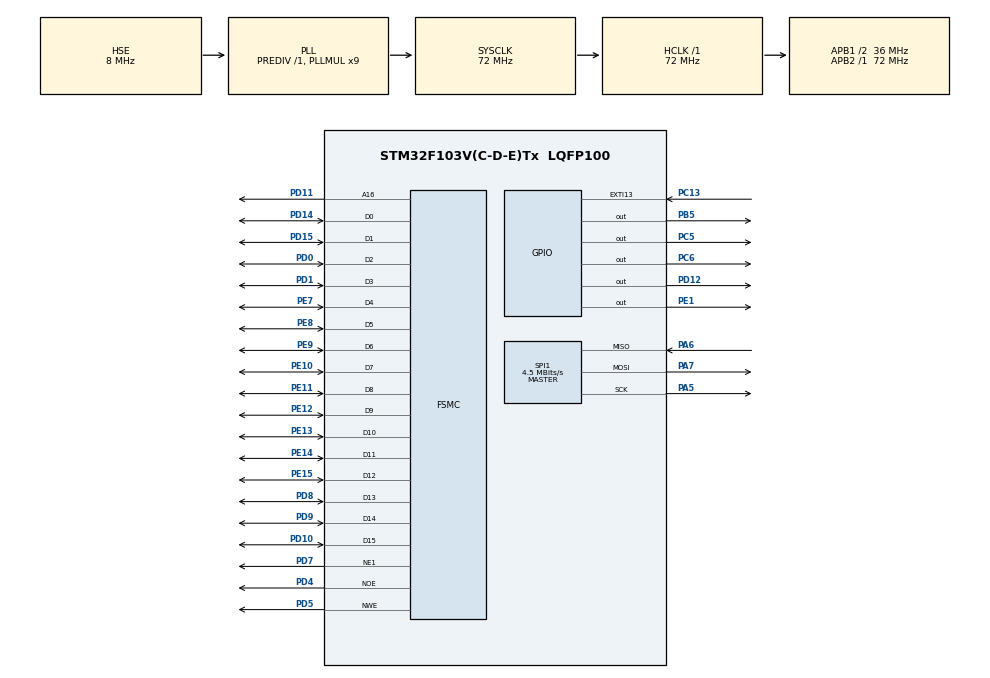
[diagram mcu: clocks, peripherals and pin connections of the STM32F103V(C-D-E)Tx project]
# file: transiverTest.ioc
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Mcu.Family=STM32F1
Mcu.Name=STM32F103V(C-D-E)Tx
Mcu.Package=LQFP100
NVIC.EXTI15_10_IRQn=true\:0\:0\:false\:true\:true\:1\:true\:true\:true
NVIC.PriorityGroup=NVIC_PRIORITYGROUP_4
OSC_IN.Mode=HSE-External-Oscillator
OSC_IN.Signal=RCC_OSC_IN
OSC_OUT.Mode=HSE-External-Oscillator
OSC_OUT.Signal=RCC_OSC_OUT
PA13.Mode=Serial_Wire
PA13.Signal=SYS_JTMS-SWDIO
PA14.Mode=Serial_Wire
PA14.Signal=SYS_JTCK-SWCLK
PA5.Mode=Full_Duplex_Master
PA5.Signal=SPI1_SCK
PA6.Mode=Full_Duplex_Master
PA6.Signal=SPI1_MISO
PA7.Mode=Full_Duplex_Master
PA7.Signal=SPI1_MOSI
PB5.Signal=GPIO_Output
PC13-TAMPER-RTC.Signal=GPXTI13
PC14-OSC32_IN.Mode=LSE-External-Oscillator
PC14-OSC32_IN.Signal=RCC_OSC32_IN
PC15-OSC32_OUT.Mode=LSE-External-Oscillator
PC15-OSC32_OUT.Signal=RCC_OSC32_OUT
PC5.Signal=GPIO_Output
PC6.Signal=GPIO_Output
PD0.Mode=16b-d1
PD0.Signal=FSMC_D2
PD1.Mode=16b-d1
PD1.Signal=FSMC_D3
PD10.Mode=16b-d1
PD10.Signal=FSMC_D15
PD11.Mode=A16_1
PD11.Signal=FSMC_A16
PD12.GPIO_Speed=GPIO_SPEED_FREQ_HIGH
PD12.Signal=GPIO_Output
PD14.Mode=16b-d1
PD14.Signal=FSMC_D0
PD15.Mode=16b-d1
PD15.Signal=FSMC_D1
PD4.Mode=Lcd1
PD4.Signal=FSMC_NOE
PD5.Mode=Lcd1
PD5.Signal=FSMC_NWE
PD7.Mode=NorPsramChipSelect1_1
PD7.Signal=FSMC_NE1
PD8.Mode=16b-d1
PD8.Signal=FSMC_D13
PD9.Mode=16b-d1
PD9.Signal=FSMC_D14
PE1.GPIO_Speed=GPIO_SPEED_FREQ_HIGH
PE1.Signal=GPIO_Output
PE10.Mode=16b-d1
PE10.Signal=FSMC_D7
PE11.Mode=16b-d1
PE11.Signal=FSMC_D8
PE12.Mode=16b-d1
PE12.Signal=FSMC_D9
PE13.Mode=16b-d1
PE13.Signal=FSMC_D10
PE14.Mode=16b-d1
PE14.Signal=FSMC_D11
PE15.Mode=16b-d1
PE15.Signal=FSMC_D12
PE7.Mode=16b-d1
PE7.Signal=FSMC_D4
PE8.Mode=16b-d1
PE8.Signal=FSMC_D5
PE9.Mode=16b-d1
PE9.Signal=FSMC_D6
ProjectManager.HeapSize=0x200
ProjectManager.StackSize=0x400
ProjectManager.TargetToolchain=STM32CubeIDE
RCC.AHBFreq_Value=72000000
RCC.APB1CLKDivider=RCC_HCLK_DIV2
RCC.APB1Freq_Value=36000000
RCC.APB1TimFreq_Value=72000000
RCC.APB2Freq_Value=72000000
RCC.APB2TimFreq_Value=72000000
RCC.HCLKFreq_Value=72000000
RCC.PLLMUL=RCC_PLL_MUL9
RCC.PLLSourceVirtual=RCC_PLLSOURCE_HSE
RCC.SYSCLKFreq_VALUE=72000000
RCC.SYSCLKSource=RCC_SYSCLKSOURCE_PLLCLK
RCC.USBFreq_Value=72000000
SPI1.BaudRatePrescaler=SPI_BAUDRATEPRESCALER_16
SPI1.CalculateBaudRate=4.5 MBits/s
SPI1.Direction=SPI_DIRECTION_2LINES
SPI1.Mode=SPI_MODE_MASTER
SPI1.VirtualType=VM_MASTER
board=custom

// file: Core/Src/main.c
/* USER CODE BEGIN Header */
/**
  ******************************************************************************
  * @file           : main.c
  * @brief          : Main program body
  ******************************************************************************
  * @attention
  *
  * Copyright (c) 2022 STMicroelectronics.
  * All rights reserved.
  *
  * This software is licensed under terms that can be found in the LICENSE file
  * in the root directory of this software component.
  * If no LICENSE file comes with this software, it is provided AS-IS.
  *
  ******************************************************************************
  */
/* USER CODE END Header */
#include "main.h"

/* USER CODE BEGIN Includes */
#include "NRF24L01.h"
#include "lcd.h"
/* USER CODE END Includes */

/* USER CODE BEGIN PM */
uint8_t TxAddress[] = {0xEE,0xDD,0xCC,0xBB,0xAA};
uint8_t TxData[][32] = {{"Hello World\n"},{"Test 1\n"},{"Test 2\n"}};

/* USER CODE END PM */

 SPI_HandleTypeDef hspi1;

SRAM_HandleTypeDef hsram1;

void SystemClock_Config(void);
static void MX_GPIO_Init(void);
static void MX_FSMC_Init(void);
static void MX_SPI1_Init(void);
static void MX_NVIC_Init(void);

int main(void)
{

  /* MCU Configuration--------------------------------------------------------*/

  /* Reset of all peripherals, Initializes the Flash interface and the Systick. */
  HAL_Init();

  /* Configure the system clock */
  SystemClock_Config();

  /* Initialize all configured peripherals */
  MX_GPIO_Init();
  MX_FSMC_Init();
  MX_SPI1_Init();

  /* Initialize interrupts */
  MX_NVIC_Init();
  /* USER CODE BEGIN 2 */
  LCD_INIT();

  NRF24_Init();
  NRF24_TxMode(TxAddress, 10);

  HAL_GPIO_WritePin(GPIOB,GPIO_PIN_5,GPIO_PIN_SET);
  /* USER CODE END 2 */

  /* Infinite loop */
  /* USER CODE BEGIN WHILE */
  int counter =0;
  while (1)
  {
	  LCD_Clear(0,0,100,20,WHITE);
	  if(counter == 3){
		  counter =0;
	  }

	  if (NRF24_Transmit(TxData[counter]) == 1){
		  GPIO_PinState dummy = HAL_GPIO_ReadPin(GPIOB, GPIO_PIN_5);
		  if(dummy == GPIO_PIN_SET  ){
			  HAL_GPIO_WritePin(GPIOB,GPIO_PIN_5,GPIO_PIN_RESET);
			  HAL_Delay(280);
		  } else {
			  HAL_GPIO_WritePin(GPIOB,GPIO_PIN_5,GPIO_PIN_SET);
			  HAL_Delay(280);
		  }
		  LCD_DrawString(0,0,TxData[counter]);
		  counter++;
	  }
	  HAL_Delay(1000);
    /* USER CODE END WHILE */

  }
}

void SystemClock_Config(void)
{
  RCC_OscInitTypeDef RCC_OscInitStruct = {0};
  RCC_ClkInitTypeDef RCC_ClkInitStruct = {0};

  /** Initializes the RCC Oscillators according to the specified parameters
  * in the RCC_OscInitTypeDef structure.
  */
  RCC_OscInitStruct.OscillatorType = RCC_OSCILLATORTYPE_HSE;
  RCC_OscInitStruct.HSEState = RCC_HSE_ON;
  RCC_OscInitStruct.HSEPredivValue = RCC_HSE_PREDIV_DIV1;
  RCC_OscInitStruct.HSIState = RCC_HSI_ON;
  RCC_OscInitStruct.PLL.PLLState = RCC_PLL_ON;
  RCC_OscInitStruct.PLL.PLLSource = RCC_PLLSOURCE_HSE;
  RCC_OscInitStruct.PLL.PLLMUL = RCC_PLL_MUL9;
  if (HAL_RCC_OscConfig(&RCC_OscInitStruct) != HAL_OK)
  {
    Error_Handler();
  }

  /** Initializes the CPU, AHB and APB buses clocks
  */
  RCC_ClkInitStruct.ClockType = RCC_CLOCKTYPE_HCLK|RCC_CLOCKTYPE_SYSCLK
                              |RCC_CLOCKTYPE_PCLK1|RCC_CLOCKTYPE_PCLK2;
  RCC_ClkInitStruct.SYSCLKSource = RCC_SYSCLKSOURCE_PLLCLK;
  RCC_ClkInitStruct.AHBCLKDivider = RCC_SYSCLK_DIV1;
  RCC_ClkInitStruct.APB1CLKDivider = RCC_HCLK_DIV2;
  RCC_ClkInitStruct.APB2CLKDivider = RCC_HCLK_DIV1;

  if (HAL_RCC_ClockConfig(&RCC_ClkInitStruct, FLASH_LATENCY_2) != HAL_OK)
  {
    Error_Handler();
  }
}

/**
  * @brief NVIC Configuration.
  * @retval None
  */
static void MX_NVIC_Init(void)
{
  /* EXTI15_10_IRQn interrupt configuration */
  HAL_NVIC_SetPriority(EXTI15_10_IRQn, 0, 0);
  HAL_NVIC_EnableIRQ(EXTI15_10_IRQn);
}

static void MX_SPI1_Init(void)
{

  /* SPI1 parameter configuration*/
  hspi1.Instance = SPI1;
  hspi1.Init.Mode = SPI_MODE_MASTER;
  hspi1.Init.Direction = SPI_DIRECTION_2LINES;
  hspi1.Init.DataSize = SPI_DATASIZE_8BIT;
  hspi1.Init.CLKPolarity = SPI_POLARITY_LOW;
  hspi1.Init.CLKPhase = SPI_PHASE_1EDGE;
  hspi1.Init.NSS = SPI_NSS_SOFT;
  hspi1.Init.BaudRatePrescaler = SPI_BAUDRATEPRESCALER_16;
  hspi1.Init.FirstBit = SPI_FIRSTBIT_MSB;
  hspi1.Init.TIMode = SPI_TIMODE_DISABLE;
  hspi1.Init.CRCCalculation = SPI_CRCCALCULATION_DISABLE;
  hspi1.Init.CRCPolynomial = 10;
  if (HAL_SPI_Init(&hspi1) != HAL_OK)
  {
    Error_Handler();
  }

}

static void MX_GPIO_Init(void)
{
  GPIO_InitTypeDef GPIO_InitStruct = {0};

  /* GPIO Ports Clock Enable */
  __HAL_RCC_GPIOC_CLK_ENABLE();
  __HAL_RCC_GPIOA_CLK_ENABLE();
  __HAL_RCC_GPIOE_CLK_ENABLE();
  __HAL_RCC_GPIOD_CLK_ENABLE();
  __HAL_RCC_GPIOB_CLK_ENABLE();

  /*Configure GPIO pin Output Level */
  HAL_GPIO_WritePin(GPIOC, GPIO_PIN_5|GPIO_PIN_6, GPIO_PIN_RESET);

  /*Configure GPIO pin Output Level */
  HAL_GPIO_WritePin(GPIOD, GPIO_PIN_12, GPIO_PIN_RESET);

  /*Configure GPIO pin Output Level */
  HAL_GPIO_WritePin(GPIOB, GPIO_PIN_5, GPIO_PIN_RESET);

  /*Configure GPIO pin Output Level */
  HAL_GPIO_WritePin(GPIOE, GPIO_PIN_1, GPIO_PIN_RESET);

  /*Configure GPIO pin : PC13 */
  GPIO_InitStruct.Pin = GPIO_PIN_13;
  GPIO_InitStruct.Mode = GPIO_MODE_IT_RISING;
  GPIO_InitStruct.Pull = GPIO_NOPULL;
  HAL_GPIO_Init(GPIOC, &GPIO_InitStruct);

  /*Configure GPIO pins : PC5 PC6 */
  GPIO_InitStruct.Pin = GPIO_PIN_5|GPIO_PIN_6;
  GPIO_InitStruct.Mode = GPIO_MODE_OUTPUT_PP;
  GPIO_InitStruct.Pull = GPIO_NOPULL;
  GPIO_InitStruct.Speed = GPIO_SPEED_FREQ_LOW;
  HAL_GPIO_Init(GPIOC, &GPIO_InitStruct);

  /*Configure GPIO pin : PD12 */
  GPIO_InitStruct.Pin = GPIO_PIN_12;
  GPIO_InitStruct.Mode = GPIO_MODE_OUTPUT_PP;
  GPIO_InitStruct.Pull = GPIO_NOPULL;
  GPIO_InitStruct.Speed = GPIO_SPEED_FREQ_HIGH;
  HAL_GPIO_Init(GPIOD, &GPIO_InitStruct);

  /*Configure GPIO pin : PB5 */
  GPIO_InitStruct.Pin = GPIO_PIN_5;
  GPIO_InitStruct.Mode = GPIO_MODE_OUTPUT_PP;
  GPIO_InitStruct.Pull = GPIO_NOPULL;
  GPIO_InitStruct.Speed = GPIO_SPEED_FREQ_LOW;
  HAL_GPIO_Init(GPIOB, &GPIO_InitStruct);

  /*Configure GPIO pin : PE1 */
  GPIO_InitStruct.Pin = GPIO_PIN_1;
  GPIO_InitStruct.Mode = GPIO_MODE_OUTPUT_PP;
  GPIO_InitStruct.Pull = GPIO_NOPULL;
  GPIO_InitStruct.Speed = GPIO_SPEED_FREQ_HIGH;
  HAL_GPIO_Init(GPIOE, &GPIO_InitStruct);

}

/* FSMC initialization function */
static void MX_FSMC_Init(void)
{

  FSMC_NORSRAM_TimingTypeDef Timing = {0};

  /** Perform the SRAM1 memory initialization sequence
  */
  hsram1.Instance = FSMC_NORSRAM_DEVICE;
  hsram1.Extended = FSMC_NORSRAM_EXTENDED_DEVICE;
  /* hsram1.Init */
  hsram1.Init.NSBank = FSMC_NORSRAM_BANK1;
  hsram1.Init.DataAddressMux = FSMC_DATA_ADDRESS_MUX_DISABLE;
  hsram1.Init.MemoryType = FSMC_MEMORY_TYPE_SRAM;
  hsram1.Init.MemoryDataWidth = FSMC_NORSRAM_MEM_BUS_WIDTH_16;
  hsram1.Init.BurstAccessMode = FSMC_BURST_ACCESS_MODE_DISABLE;
  hsram1.Init.WaitSignalPolarity = FSMC_WAIT_SIGNAL_POLARITY_LOW;
  hsram1.Init.WrapMode = FSMC_WRAP_MODE_DISABLE;
  hsram1.Init.WaitSignalActive = FSMC_WAIT_TIMING_BEFORE_WS;
  hsram1.Init.WriteOperation = FSMC_WRITE_OPERATION_ENABLE;
  hsram1.Init.WaitSignal = FSMC_WAIT_SIGNAL_DISABLE;
  hsram1.Init.ExtendedMode = FSMC_EXTENDED_MODE_DISABLE;
  hsram1.Init.AsynchronousWait = FSMC_ASYNCHRONOUS_WAIT_DISABLE;
  hsram1.Init.WriteBurst = FSMC_WRITE_BURST_DISABLE;
  /* Timing */
  Timing.AddressSetupTime = 15;
  Timing.AddressHoldTime = 15;
  Timing.DataSetupTime = 255;
  Timing.BusTurnAroundDuration = 15;
  Timing.CLKDivision = 16;
  Timing.DataLatency = 17;
  Timing.AccessMode = FSMC_ACCESS_MODE_A;
  /* ExtTiming */

  if (HAL_SRAM_Init(&hsram1, &Timing, NULL) != HAL_OK)
  {
    Error_Handler( );
  }

  /** Disconnect NADV
  */

  __HAL_AFIO_FSMCNADV_DISCONNECTED();

}

void Error_Handler(void)
{
  __disable_irq();
  while (1)
  {
  }
}
